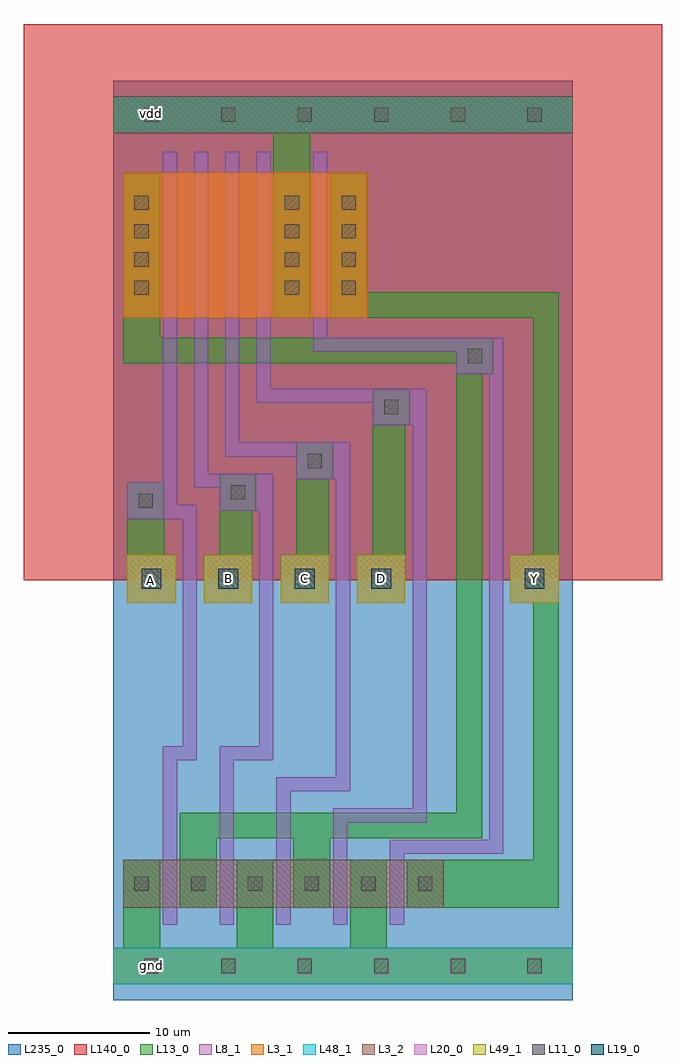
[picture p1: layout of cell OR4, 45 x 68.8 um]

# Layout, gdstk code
import gdstk
lib = gdstk.Library(unit=1e-6, precision=1e-09)
def R(c, l, rs):  # rectangles x0, y0, x1, y1
    for r in rs: c.add(gdstk.rectangle(r[:2], r[2:], *l))
def A(c, l, x, y, w, h, nx, ny, dx, dy):  # array of equal rectangles
    R(c, l, [(x+i*dx, y+j*dy, x+i*dx+w, y+j*dy+h) for i in range(nx) for j in range(ny)])
def P(c, l, *ps):  # polygons
    for p in ps: c.add(gdstk.Polygon(p, *l))
L3_1 = (3, 1)
L3_2 = (3, 2)
L8_1 = (8, 1)
L11_0 = (11, 0)
L13_0 = (13, 0)
L19_0 = (19, 0)
L20_0 = (20, 0)
L48_1 = (48, 1)
L49_1 = (49, 1)
L140_0 = (140, 0)
L235_0 = (235, 0)

or4 = lib.new_cell('OR4')
R(or4, L3_1, [(0,1.1,32.4,3.7), (0.7,48.1,17.9,58.3)])
R(or4, L3_2, [(0.7,6.5,23.3,9.9), (0,61.1,32.4,63.7)])
P(or4, L8_1, [(3.5,5.3),(3.5,17.9),(4.9,17.9),(4.9,33.9),(1,33.9),(1,36.5),(3.5,36.5),(3.5,59.8),(4.5,59.8),(4.5,34.9),(5.9,34.9),(5.9,16.9),(4.5,16.9),(4.5,5.3)],
  [(7.5,5.3),(7.5,17.9),(10.3,17.9),(10.3,34.5),(7.5,34.5),(7.5,36.1),(5.7,36.1),(5.7,59.8),(6.7,59.8),(6.7,37.1),(11.3,37.1),(11.3,16.9),(8.5,16.9),(8.5,5.3)],
  [(11.5,5.3),(11.5,15.7),(15.7,15.7),(15.7,36.7),(12.9,36.7),(12.9,38.3),(7.9,38.3),(7.9,59.8),(8.9,59.8),(8.9,39.3),(16.7,39.3),(16.7,14.7),(12.5,14.7),(12.5,5.3)],
  [(15.5,5.3),(15.5,13.5),(21.1,13.5),(21.1,40.5),(18.3,40.5),(18.3,42.1),(10.1,42.1),(10.1,59.8),(11.1,59.8),(11.1,43.1),(22.1,43.1),(22.1,12.5),(16.5,12.5),(16.5,5.3)],
  [(19.5,5.3),(19.5,11.3),(26.5,11.3),(26.5,44.1),(24.2,44.1),(24.2,45.7),(14.1,45.7),(14.1,59.8),(15.1,59.8),(15.1,46.7),(27.5,46.7),(27.5,10.3),(20.5,10.3),(20.5,5.3)])
A(or4, L11_0, 7.6, 1.9, 1, 1, 5, 2, 5.4, 60)
A(or4, L11_0, 1.5, 7.7, 1, 1, 6, 1, 4, 0)
A(or4, L11_0, 1.5, 49.7, 1, 1, 1, 4, 0, 2)
A(or4, L11_0, 12.1, 49.7, 1, 1, 1, 4, 0, 2)
A(or4, L11_0, 16.1, 49.7, 1, 1, 1, 4, 0, 2)
R(or4, L11_0, [(2.2,1.9,3.2,2.9), (7.6,1.9,8.6,2.9), (1.8,34.7,2.8,35.7), (8.3,35.3,9.3,36.3), (13.7,37.5,14.7,38.5), (19.1,41.3,20.1,42.3), (25,44.9,26,45.9), (2.2,61.9,3.2,62.9), (2.2,61.9,3.2,62.9), (7.6,61.9,8.6,62.9), (7.6,61.9,8.6,62.9), (7.6,61.9,8.6,62.9)])
A(or4, L13_0, 0.7, 3.7, 2.6, 6.2, 3, 1, 8, 0)
R(or4, L13_0, [(0,1.1,32.4,3.7), (11.3,48.1,13.9,61.1), (0,61.1,32.4,63.7)])
P(or4, L13_0, [(1,28),(1,36.5),(3.6,36.5),(3.6,31.4),(4.4,31.4),(4.4,28)],
  [(6.4,28),(6.4,31.4),(7.5,31.4),(7.5,37.1),(10.1,37.1),(10.1,34.5),(9.8,34.5),(9.8,28)],
  [(11.8,28),(11.8,31.4),(12.9,31.4),(12.9,39.3),(15.5,39.3),(15.5,36.7),(15.2,36.7),(15.2,28)],
  [(17.2,28),(17.2,31.4),(18.3,31.4),(18.3,43.1),(20.9,43.1),(20.9,40.5),(20.6,40.5),(20.6,28)],
  [(4.7,6.5),(4.7,13.2),(24.2,13.2),(24.2,44.9),(0.7,44.9),(0.7,58.3),(3.3,58.3),(3.3,46.7),(26.8,46.7),(26.8,44.1),(26,44.1),(26,11.4),(15.3,11.4),(15.3,6.5),(12.7,6.5),(12.7,11.4),(7.3,11.4),(7.3,6.5)],
  [(20.7,6.5),(20.7,9.9),(29.6,9.9),(29.6,28),(28,28),(28,31.4),(29.6,31.4),(29.6,48.1),(15.3,48.1),(15.3,58.3),(17.9,58.3),(17.9,49.9),(31.4,49.9),(31.4,6.5)])
A(or4, L19_0, 2, 29, 1.4, 1.4, 4, 1, 5.4, 0)
R(or4, L19_0, [(29,29,30.4,30.4)])
A(or4, L20_0, 1, 28, 3.4, 3.4, 4, 1, 5.4, 0)
R(or4, L20_0, [(28,28,31.4,31.4)])
R(or4, L48_1, [(0,1.1,32.4,3.7), (0,61.1,32.4,63.7)])
A(or4, L49_1, 1, 28, 3.4, 3.4, 4, 1, 5.4, 0)
R(or4, L49_1, [(28,28,31.4,31.4)])
R(or4, L140_0, [(-6.3,29.6,38.7,68.8)])
R(or4, L235_0, [(0,0,32.4,64.8)])
or4.add(gdstk.Label('Y', (29.7,29.7), layer=49, texttype=0))
or4.add(gdstk.Label('C', (13.5,29.7), layer=49, texttype=0))
or4.add(gdstk.Label('D', (18.9,29.7), layer=49, texttype=0))
or4.add(gdstk.Label('A', (2.6,29.6), layer=49, texttype=0))
or4.add(gdstk.Label('B', (8.1,29.7), layer=49, texttype=0))
or4.add(gdstk.Label('gnd', (2.7,2.4), layer=48, texttype=0))
or4.add(gdstk.Label('vdd', (2.7,62.5), layer=48, texttype=0))

lib.write_gds('OR4.gds')
